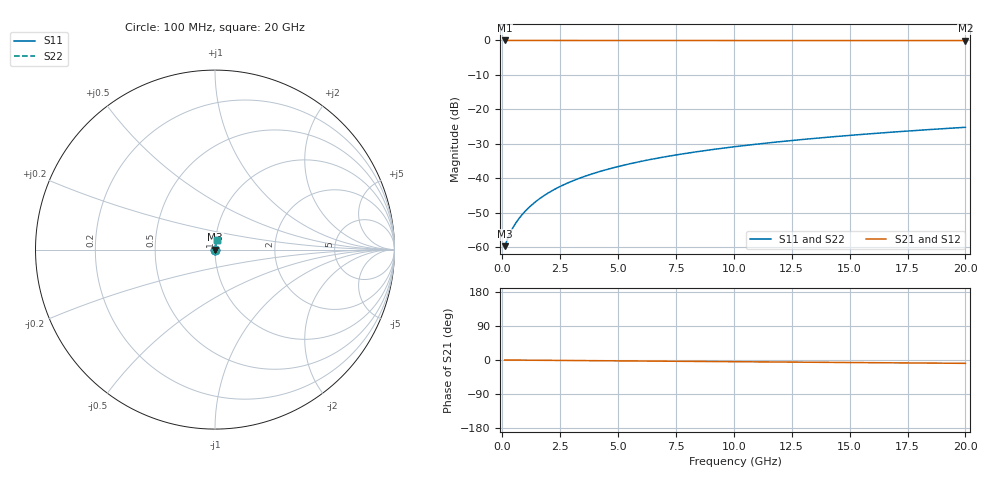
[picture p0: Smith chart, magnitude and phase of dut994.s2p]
! Touchstone file exported from HFSS 2026.1.0
!  File:  C:/ffzhzh/LocalFiles/Ansys_Project_Files/temp_train_BSMRDL_994_1783172983_51560.aedt
!  Generated:  09:50:54 PM Jul  4, 2026
!  Design:  BSMRDL
!  Project:  temp_train_BSMRDL_994_1783172983_51560
! Variables:
!  h_bsmrdl = 3.47um
!  h_ox = 20um
!  h_rdl = 5um
!  h_sub = 80um
!  h_tmrdl = 5um
!  h_tsv = 80um
!  h_via = 3um
!  l_bsmrdl = 131.25um
!  l_sub = 531.25um
!  l_tmrdl = 200um
!  m_sub = 200um
!  pitch = 26.89um
!  r_tsv = 6um
!  s_tmrdl = 10um
!  w_bsmrdl = 17.81um
!  w_sub = 500um
!  w_tmrdl = 12um
!  x_tsv_center1 = 206um
!  x_tsv_center2 = 355.06um
!  x_tsv_center3 = 567.06um
!  x_tsv_center4 = 716.12um
!  x_tsv_center5 = 928.12um
!  x_tsv_center6 = 1077.18um
# GHz S MA R 50.000000
! Terminal data exported
! Port[1] = BSM_RDL1_1_T1
! Port[2] = BSM_RDL1_1_T2
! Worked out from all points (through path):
!   200 points, 100 MHz to 20 GHz, reference 50 ohm
!   highest |S21| = -0.01 dB at 100 MHz (marker M1); lowest = -0.1 dB at 20 GHz (marker M2)
!   group delay of S21, straight-line fit = 1.22 ps
!   lowest |S11| = -59.7 dB at 100 MHz (marker M3), VSWR 1.00, Z = 50.1 + j0.0377 ohm
!   |S11| at or under -10 dB: start of sweep to end of sweep
!   |S22| runs from -59.7 to -25.2 dB; largest |S21 - S12| = 4.1e-15
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0.1  0.001039 21.2  0.999 -0.0  0.999 -0.0  0.001039 21.2
! Gamma 0 0 0 0
! Port Impedance 50 0 50 0
0.3  0.001506 44.7  0.9989 -0.1  0.9989 -0.1  0.001506 44.7
0.4  0.00177 50.6  0.9989 -0.2  0.9989 -0.2  0.00177 50.6
0.6  0.002295 58.4  0.9988 -0.3  0.9988 -0.3  0.002295 58.4
0.7  0.002559 61.2  0.9988 -0.3  0.9988 -0.3  0.002559 61.2
0.9  0.003094 65.5  0.9987 -0.4  0.9987 -0.4  0.003094 65.5
1.1  0.00364 68.7  0.9987 -0.5  0.9987 -0.5  0.00364 68.7
1.3  0.004196 71.1  0.9987 -0.6  0.9987 -0.6  0.004196 71.1
1.7  0.005327 74.4  0.9986 -0.8  0.9986 -0.8  0.005327 74.4
2.2  0.006763 76.9  0.9986 -1.0  0.9986 -1.0  0.006763 76.9
2.8  0.008498 78.6  0.9985 -1.3  0.9985 -1.3  0.008498 78.6
3.5  0.01052 79.7  0.9983 -1.6  0.9983 -1.6  0.01052 79.7
4.2  0.01254 80.2  0.9982 -1.9  0.9982 -1.9  0.01254 80.2
5  0.01482 80.5  0.998 -2.3  0.998 -2.3  0.01482 80.5
5.9  0.01737 80.6  0.9978 -2.7  0.9978 -2.7  0.01737 80.6
6.8  0.01989 80.5  0.9976 -3.1  0.9976 -3.1  0.01989 80.5
8.3  0.02404 80.3  0.9972 -3.7  0.9972 -3.7  0.02404 80.3
10.1  0.02894 79.8  0.9967 -4.5  0.9967 -4.5  0.02894 79.8
11.7  0.03324 79.4  0.9963 -5.2  0.9963 -5.2  0.03324 79.4
13.4  0.03776 78.9  0.9959 -6.0  0.9959 -6.0  0.03776 78.9
16.7  0.04643 77.8  0.995 -7.4  0.995 -7.4  0.04643 77.8
20  0.05501 76.7  0.9942 -8.8  0.9942 -8.8  0.05501 76.7
